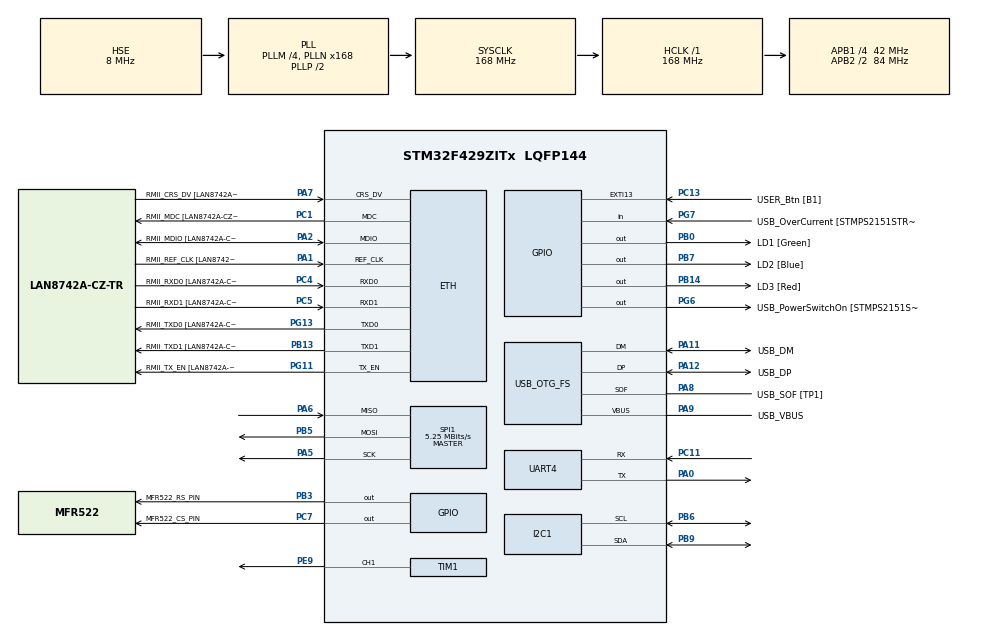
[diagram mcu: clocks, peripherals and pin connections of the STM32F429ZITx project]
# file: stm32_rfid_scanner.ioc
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Dma.Request0=TIM1_CH1
Dma.Request1=UART4_TX
Dma.Request2=UART4_RX
Dma.TIM1_CH1.0.Direction=DMA_MEMORY_TO_PERIPH
Dma.TIM1_CH1.0.FIFOMode=DMA_FIFOMODE_DISABLE
Dma.TIM1_CH1.0.Instance=DMA2_Stream1
Dma.TIM1_CH1.0.MemDataAlignment=DMA_MDATAALIGN_HALFWORD
Dma.TIM1_CH1.0.MemInc=DMA_MINC_ENABLE
Dma.TIM1_CH1.0.Mode=DMA_CIRCULAR
Dma.TIM1_CH1.0.PeriphDataAlignment=DMA_PDATAALIGN_HALFWORD
Dma.TIM1_CH1.0.PeriphInc=DMA_PINC_DISABLE
Dma.TIM1_CH1.0.Priority=DMA_PRIORITY_LOW
Dma.UART4_RX.2.Direction=DMA_PERIPH_TO_MEMORY
Dma.UART4_RX.2.FIFOMode=DMA_FIFOMODE_DISABLE
Dma.UART4_RX.2.Instance=DMA1_Stream2
Dma.UART4_RX.2.MemDataAlignment=DMA_MDATAALIGN_BYTE
Dma.UART4_RX.2.MemInc=DMA_MINC_ENABLE
Dma.UART4_RX.2.Mode=DMA_CIRCULAR
Dma.UART4_RX.2.PeriphDataAlignment=DMA_PDATAALIGN_BYTE
Dma.UART4_RX.2.PeriphInc=DMA_PINC_DISABLE
Dma.UART4_RX.2.Priority=DMA_PRIORITY_LOW
Dma.UART4_TX.1.Direction=DMA_MEMORY_TO_PERIPH
Dma.UART4_TX.1.FIFOMode=DMA_FIFOMODE_DISABLE
Dma.UART4_TX.1.Instance=DMA1_Stream4
Dma.UART4_TX.1.MemDataAlignment=DMA_MDATAALIGN_BYTE
Dma.UART4_TX.1.MemInc=DMA_MINC_ENABLE
Dma.UART4_TX.1.Mode=DMA_NORMAL
Dma.UART4_TX.1.PeriphDataAlignment=DMA_PDATAALIGN_BYTE
Dma.UART4_TX.1.PeriphInc=DMA_PINC_DISABLE
Dma.UART4_TX.1.Priority=DMA_PRIORITY_LOW
ETH.MediaInterface=HAL_ETH_RMII_MODE
ETH.PHY_Name=LAN8742A_PHY_ADDRESS
ETH.PHY_Value=0
ETH.PhyAddress=0
ETH.RxMode=ETH_RXINTERRUPT_MODE
FREERTOS.Tasks01=defaultTask,24,128,StartDefaultTask,Default,NULL,Dynamic,NULL,NULL
FREERTOS.configUSE_NEWLIB_REENTRANT=1
I2C1.I2C_Mode=I2C_Fast
LWIP.Version=v2.1.2_Cube
Mcu.Family=STM32F4
Mcu.Name=STM32F429ZITx
Mcu.Package=LQFP144
NVIC.DMA1_Stream2_IRQn=true\:5\:0\:false\:false\:true\:true\:false\:true\:true
NVIC.DMA1_Stream4_IRQn=true\:5\:0\:false\:false\:true\:true\:false\:true\:true
NVIC.DMA2_Stream1_IRQn=true\:5\:0\:false\:false\:true\:true\:false\:true\:true
NVIC.ETH_IRQn=true\:5\:0\:false\:false\:true\:true\:false\:true\:true
NVIC.EXTI15_10_IRQn=true\:5\:0\:false\:false\:true\:true\:true\:true\:true
NVIC.PriorityGroup=NVIC_PRIORITYGROUP_4
NVIC.TIM2_IRQn=true\:15\:0\:false\:false\:true\:false\:false\:true\:true
NVIC.TIM6_DAC_IRQn=true\:5\:0\:false\:false\:true\:true\:true\:true\:true
NVIC.TimeBase=TIM2_IRQn
NVIC.TimeBaseIP=TIM2
NVIC.UART4_IRQn=true\:5\:0\:false\:false\:true\:true\:true\:true\:true
PA0/WKUP.Mode=Asynchronous
PA0/WKUP.Signal=UART4_TX
PA1.GPIO_Label=RMII_REF_CLK [LAN8742A-CZ-TR_REFCLK0]
PA1.Mode=RMII
PA1.Signal=ETH_REF_CLK
PA10.GPIO_Label=USB_ID
PA10.Signal=USB_OTG_FS_ID
PA11.GPIO_Label=USB_DM
PA11.Mode=Device_Only
PA11.Signal=USB_OTG_FS_DM
PA12.GPIO_Label=USB_DP
PA12.Mode=Device_Only
PA12.Signal=USB_OTG_FS_DP
PA13.GPIO_Label=TMS
PA13.Mode=Serial_Wire
PA13.Signal=SYS_JTMS-SWDIO
PA14.GPIO_Label=TCK
PA14.Mode=Serial_Wire
PA14.Signal=SYS_JTCK-SWCLK
PA2.GPIO_Label=RMII_MDIO [LAN8742A-CZ-TR_MDIO]
PA2.Mode=RMII
PA2.Signal=ETH_MDIO
PA5.Mode=Full_Duplex_Master
PA5.Signal=SPI1_SCK
PA6.Mode=Full_Duplex_Master
PA6.Signal=SPI1_MISO
PA7.GPIO_Label=RMII_CRS_DV [LAN8742A-CZ-TR_CRS_DV]
PA7.Mode=RMII
PA7.Signal=ETH_CRS_DV
PA8.GPIO_Label=USB_SOF [TP1]
PA8.Mode=Activate_SOF_FS
PA8.Signal=USB_OTG_FS_SOF
PA9.GPIO_Label=USB_VBUS
PA9.Mode=Activate_VBUS
PA9.Signal=USB_OTG_FS_VBUS
PB0.GPIO_Label=LD1 [Green]
PB0.Signal=GPIO_Output
PB13.GPIO_Label=RMII_TXD1 [LAN8742A-CZ-TR_TXD1]
PB13.Mode=RMII
PB13.Signal=ETH_TXD1
PB14.GPIO_Label=LD3 [Red]
PB14.Signal=GPIO_Output
PB3.GPIO_Label=MFR522_RS_PIN
PB3.Signal=GPIO_Output
PB5.Mode=Full_Duplex_Master
PB5.Signal=SPI1_MOSI
PB6.Mode=I2C
PB6.Signal=I2C1_SCL
PB7.GPIO_Label=LD2 [Blue]
PB7.Signal=GPIO_Output
PB9.Mode=I2C
PB9.Signal=I2C1_SDA
PC1.GPIO_Label=RMII_MDC [LAN8742A-CZ-TR_MDC]
PC1.Mode=RMII
PC1.Signal=ETH_MDC
PC11.Mode=Asynchronous
PC11.Signal=UART4_RX
PC13.GPIO_Label=USER_Btn [B1]
PC13.Signal=GPXTI13
PC14/OSC32_IN.Mode=LSE-External-Oscillator
PC14/OSC32_IN.Signal=RCC_OSC32_IN
PC15/OSC32_OUT.Mode=LSE-External-Oscillator
PC15/OSC32_OUT.Signal=RCC_OSC32_OUT
PC4.GPIO_Label=RMII_RXD0 [LAN8742A-CZ-TR_RXD0]
PC4.Mode=RMII
PC4.Signal=ETH_RXD0
PC5.GPIO_Label=RMII_RXD1 [LAN8742A-CZ-TR_RXD1]
PC5.Mode=RMII
PC5.Signal=ETH_RXD1
PC7.GPIO_Label=MFR522_CS_PIN
PC7.Signal=GPIO_Output
PD8.GPIO_Label=STLK_RX [STM32F103CBT6_PA3]
PD8.Signal=USART3_TX
PD9.GPIO_Label=STLK_TX [STM32F103CBT6_PA2]
PD9.Signal=USART3_RX
PE9.Signal=S_TIM1_CH1
PG11.GPIO_Label=RMII_TX_EN [LAN8742A-CZ-TR_TXEN]
PG11.Mode=RMII
PG11.Signal=ETH_TX_EN
PG13.GPIO_Label=RMII_TXD0 [LAN8742A-CZ-TR_TXD0]
PG13.Mode=RMII
PG13.Signal=ETH_TXD0
PG6.GPIO_Label=USB_PowerSwitchOn [STMPS2151STR_EN]
PG6.Signal=GPIO_Output
PG7.GPIO_Label=USB_OverCurrent [STMPS2151STR_FAULT]
PG7.Signal=GPIO_Input
PH0/OSC_IN.GPIO_Label=MCO [STM32F103CBT6_PA8]
PH0/OSC_IN.Mode=HSE-External-Oscillator
PH0/OSC_IN.Signal=RCC_OSC_IN
PH1/OSC_OUT.Mode=HSE-External-Oscillator
PH1/OSC_OUT.Signal=RCC_OSC_OUT
ProjectManager.HeapSize=0x200
ProjectManager.StackSize=0x400
ProjectManager.TargetToolchain=STM32CubeIDE
RCC.48MHZClocksFreq_Value=48000000
RCC.AHBFreq_Value=168000000
RCC.APB1CLKDivider=RCC_HCLK_DIV4
RCC.APB1Freq_Value=42000000
RCC.APB1TimFreq_Value=84000000
RCC.APB2CLKDivider=RCC_HCLK_DIV2
RCC.APB2Freq_Value=84000000
RCC.APB2TimFreq_Value=168000000
RCC.CortexFreq_Value=168000000
RCC.HCLKFreq_Value=168000000
RCC.HSE_VALUE=8000000
RCC.HSI_VALUE=16000000
RCC.PLLM=4
RCC.PLLMUL=RCC_PLL_MUL9
RCC.PLLN=168
RCC.PLLQ=7
RCC.PRESCALERUSB=RCC_USBCLKSOURCE_PLL_DIV1_5
RCC.SYSCLKFreq_VALUE=168000000
RCC.SYSCLKSource=RCC_SYSCLKSOURCE_PLLCLK
RCC.SYSCLKSourceVirtual=RCC_SYSCLKSOURCE_PLLCLK
RCC.USBFreq_Value=48000000
RCC.VCOOutputFreq_Value=336000000
SH.S_TIM1_CH1.0=TIM1_CH1,PWM Generation1 CH1
SPI1.BaudRatePrescaler=SPI_BAUDRATEPRESCALER_16
SPI1.CalculateBaudRate=5.25 MBits/s
SPI1.Direction=SPI_DIRECTION_2LINES
SPI1.Mode=SPI_MODE_MASTER
SPI1.VirtualType=VM_MASTER
TIM1.Channel-PWM\ Generation1\ CH1=TIM_CHANNEL_1
TIM1.Period=10000-1
TIM1.Prescaler=16800-1
TIM6.AutoReloadPreload=TIM_AUTORELOAD_PRELOAD_ENABLE
TIM6.Period=5000
TIM6.Prescaler=8400-1
UART4.VirtualMode=Asynchronous
USB_OTG_FS.VirtualMode=Device_Only
VP_FREERTOS_VS_CMSIS_V2.Mode=CMSIS_V2
VP_LWIP_VS_Enabled.Mode=Enabled
VP_SYS_VS_tim2.Mode=TIM2
VP_TIM1_VS_ClockSourceINT.Mode=Internal
VP_TIM6_VS_ClockSourceINT.Mode=Enable_Timer
board=NUCLEO-F429ZI

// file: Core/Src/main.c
/* USER CODE BEGIN Header */
/**
  ******************************************************************************
  * @file           : main.c
  * @brief          : Main program body
  ******************************************************************************
  * @attention
  *
  * Copyright (c) 2023 STMicroelectronics.
  * All rights reserved.
  *
  * This software is licensed under terms that can be found in the LICENSE file
  * in the root directory of this software component.
  * If no LICENSE file comes with this software, it is provided AS-IS.
  *
  ******************************************************************************
  */
/* USER CODE END Header */
#include "main.h"
#include "cmsis_os.h"
#include "lwip.h"

/* USER CODE BEGIN Includes */
#include "stdbool.h"
#include "MFRC522.h"
/* USER CODE END Includes */

I2C_HandleTypeDef hi2c1;

SPI_HandleTypeDef hspi1;

TIM_HandleTypeDef htim1;
TIM_HandleTypeDef htim6;
DMA_HandleTypeDef hdma_tim1_ch1;

UART_HandleTypeDef huart4;
DMA_HandleTypeDef hdma_uart4_tx;
DMA_HandleTypeDef hdma_uart4_rx;

PCD_HandleTypeDef hpcd_USB_OTG_FS;

/* Definitions for defaultTask */
osThreadId_t defaultTaskHandle;
const osThreadAttr_t defaultTask_attributes = {
  .name = "defaultTask",
  .stack_size = 128 * 4,
  .priority = (osPriority_t) osPriorityNormal,
};
/* USER CODE BEGIN PV */

osThreadId_t myFirstTask;
const osThreadAttr_t myFirstTask_attributes = {
  .name = "myFirstTask",
  .stack_size = 128 * 4,
  .priority = (osPriority_t) osPriorityHigh, //osPriorityNormal
};

osMutexId_t myMtx = NULL;
osMutexId_t myMtx2 = NULL;
osMutexAttr_t myMtxAtt = {NULL, osMutexRecursive, NULL, NULL};
osMutexAttr_t myMtxAtt2 = {NULL, osMutexRecursive, NULL, NULL};
uint16_t data  = 6;

char myBuffer1[1024];
char myBuffer2[1024];

int isButtonPressed = 1;

static uint32_t _tick = 0, _startTick = 0;
static int _pressed = 1;

/* USER CODE END PV */

void SystemClock_Config(void);
static void MX_GPIO_Init(void);
static void MX_DMA_Init(void);
static void MX_USB_OTG_FS_PCD_Init(void);
static void MX_TIM6_Init(void);
static void MX_TIM1_Init(void);
static void MX_SPI1_Init(void);
static void MX_I2C1_Init(void);
static void MX_UART4_Init(void);
void StartDefaultTask(void *argument);

/* USER CODE BEGIN PFP */
void myFirstTaskHandle(void *argument);
MFRC rfidReader;
/* USER CODE END PFP */

/* USER CODE BEGIN 0 */

void writeNameToRFIDCard(char *firstName, char *lastName)
{
	  // Prepare key - all keys are set to FFFFFFFFFFFFh at chip delivery from the factory.
	  MIFARE_Key key;
	  for (uint8_t i = 0; i < 6; i++) key.keyByte[i] = 0xFF;

	  SEGGER_RTT_printf(0, "Card UID:");    //Dump UID
	  for (uint8_t i = 0; i < rfidReader.uid.size; i++) {
	    SEGGER_RTT_printf(0, rfidReader.uid.uidByte[i] < 0x10 ? " 0" : " ");
	    SEGGER_RTT_printf(0, "%02X", rfidReader.uid.uidByte[i]);
	  }
	  SEGGER_RTT_printf(0, " PICC type: ");   // Dump PICC type
	  PICC_Type piccType = PICC_GetType(&rfidReader, rfidReader.uid.sak);
	  SEGGER_RTT_printf(0, "%s", PICC_GetTypeName(&rfidReader, piccType));

	  uint8_t buffer[34];
	  uint8_t block;
	  StatusCode status;
	  uint8_t len;

	  if(firstName == NULL || lastName == NULL)
	  {
		  return;
	  }
	  // Ask personal data: Family name

	  memcpy(buffer, firstName, strlen(firstName));
	  for (uint8_t i = strlen(firstName); i < 30; i++) buffer[i] = ' ';     // pad with spaces

	  block = 1;
	  //SEGGER_RTT_printfln(F("Authenticating using key A..."));
	  status = PCD_Authenticate(&rfidReader, PICC_CMD_MF_AUTH_KEY_A, block, &key, &(rfidReader.uid));
	  if (status != STATUS_OK) {
	    SEGGER_RTT_printf(0, "PCD_Authenticate() failed: ");
	    SEGGER_RTT_printf(0, "%s", GetStatusCodeName(&rfidReader, status));
	    return;
	  }
	  else SEGGER_RTT_printf(0, "PCD_Authenticate() success: ");

	  // Write block
	  status = MIFARE_Write(&rfidReader, block, buffer, 16);
	  if (status != STATUS_OK) {
	    SEGGER_RTT_printf(0, "MIFARE_Write() failed: ");
	    SEGGER_RTT_printf(0, "%s", GetStatusCodeName(&rfidReader, status));
	    return;
	  }
	  else SEGGER_RTT_printf(0, "MIFARE_Write() success: ");

	  block = 2;
	  //SEGGER_RTT_printfln(F("Authenticating using key A..."));
	  status = PCD_Authenticate(&rfidReader, PICC_CMD_MF_AUTH_KEY_A, block, &key, &(rfidReader.uid));
	  if (status != STATUS_OK) {
	    SEGGER_RTT_printf(0, "PCD_Authenticate() failed: ");
	    SEGGER_RTT_printf(0, "%s", GetStatusCodeName(&rfidReader, status));
	    return;
	  }

	  // Write block
	  status = MIFARE_Write(&rfidReader, block, &buffer[16], 16);
	  if (status != STATUS_OK) {
	    SEGGER_RTT_printf(0, "MIFARE_Write() failed: ");
	    SEGGER_RTT_printf(0, "%s", GetStatusCodeName(&rfidReader, status));
	    return;
	  }
	  else SEGGER_RTT_printf(0, "MIFARE_Write() success: ");

	  // Ask personal data: First name
	  memcpy(buffer, lastName, strlen(lastName));
	  for (uint8_t i = strlen(lastName); i < 20; i++) buffer[i] = ' ';     // pad with spaces

	  block = 4;
	  //SEGGER_RTT_printfln(F("Authenticating using key A..."));
	  status = PCD_Authenticate(&rfidReader, PICC_CMD_MF_AUTH_KEY_A, block, &key, &(rfidReader.uid));
	  if (status != STATUS_OK) {
	    SEGGER_RTT_printf(0, "PCD_Authenticate() failed: ");
	    SEGGER_RTT_printf(0, "%s", GetStatusCodeName(&rfidReader, status));
	    return;
	  }

	  // Write block
	  status = MIFARE_Write(&rfidReader, block, buffer, 16);
	  if (status != STATUS_OK) {
	    SEGGER_RTT_printf(0, "MIFARE_Write() failed: ");
	    SEGGER_RTT_printf(0, "%s", GetStatusCodeName(&rfidReader, status));
	    return;
	  }
	  else SEGGER_RTT_printf(0, "MIFARE_Write() success: ");

	  block = 5;
	  //SEGGER_RTT_printfln(F("Authenticating using key A..."));
	  status = PCD_Authenticate(&rfidReader, PICC_CMD_MF_AUTH_KEY_A, block, &key, &(rfidReader.uid));
	  if (status != STATUS_OK) {
	    SEGGER_RTT_printf(0, "PCD_Authenticate() failed: ");
	    SEGGER_RTT_printf(0, "%s", GetStatusCodeName(&rfidReader, status));
	    return;
	  }

	  // Write block
	  status = MIFARE_Write(&rfidReader, block, &buffer[16], 16);
	  if (status != STATUS_OK) {
	    SEGGER_RTT_printf(0, "MIFARE_Write() failed: ");
	    SEGGER_RTT_printf(0, "%s", GetStatusCodeName(&rfidReader ,status));
	    return;
	  }
	  else SEGGER_RTT_printf(0, "MIFARE_Write() success: ");

	  SEGGER_RTT_printf(0, " ");
	  PICC_HaltA(&rfidReader); // Halt PICC
	  PCD_StopCrypto1(&rfidReader);  // Stop encryption on PCD
}

void readNameFromRFIDCard(void) {

  // Prepare key - all keys are set to FFFFFFFFFFFFh at chip delivery from the factory.
  MIFARE_Key key;
  for (uint8_t i = 0; i < 6; i++) key.keyByte[i] = 0xFF;

  //some variables we need
  uint8_t block;
  uint8_t len;
  StatusCode status;

  //-------------------------------------------

//  // Reset the loop if no new card present on the sensor/reader. This saves the entire process when idle.
//  if ( ! PICC_IsNewCardPresent(&rfidReader)) {
//    return;
//  }
//
//  // Select one of the cards
//  if ( ! PICC_ReadCardSerial(&rfidReader)) {
//    return;
//  }

  SEGGER_RTT_printf(0, "**Card Detected:**");

  //-------------------------------------------

  //PICC_DumpDetailsToSerial(&rfidReader, &(rfidReader.uid)); //dump some details about the card

  //PICC_DumpToSerial(&rfidReader, &(rfidReader.uid));      //uncomment this to see all blocks in hex

  //-------------------------------------------

  SEGGER_RTT_printf(0, "Name: ");

  uint8_t buffer1[18];

  block = 4;
  len = 18;

  //------------------------------------------- GET FIRST NAME
  status = PCD_Authenticate(&rfidReader, PICC_CMD_MF_AUTH_KEY_A, 4, &key, &(rfidReader.uid)); //line 834 of MFRC522.cpp file
  if (status != STATUS_OK) {
    SEGGER_RTT_printf(0, "Authentication failed: ");
    SEGGER_RTT_printf(0, "%s", GetStatusCodeName(&rfidReader, status));
    return;
  }

  status = MIFARE_Read(&rfidReader, block, buffer1, &len);
  if (status != STATUS_OK) {
    SEGGER_RTT_printf(0, "Reading failed: ");
    SEGGER_RTT_printf(0, "%s", GetStatusCodeName(&rfidReader, status));
    return;
  }

  //PRINT FIRST NAME

    buffer1[16] = 0;

    SEGGER_RTT_printf(0, "%s", buffer1);

  SEGGER_RTT_printf(" ");

  //---------------------------------------- GET LAST NAME

  uint8_t buffer2[18];
  block = 1;

  status = PCD_Authenticate(&rfidReader, PICC_CMD_MF_AUTH_KEY_A, 1, &key, &(rfidReader.uid)); //line 834
  if (status != STATUS_OK) {
    SEGGER_RTT_printf(0, "Authentication failed: ");
    SEGGER_RTT_printf(0, "%s", GetStatusCodeName(&rfidReader, status));
    return;
  }

  status = MIFARE_Read(&rfidReader, block, buffer2, &len);
  if (status != STATUS_OK) {
    SEGGER_RTT_printf(0, "Reading failed: ");
    SEGGER_RTT_printf(0, "%s", GetStatusCodeName(&rfidReader, status));
    return;
  }

  //PRINT LAST NAME
  buffer2[16] = 0;
  SEGGER_RTT_printf(0, "%s", buffer2 );

  //----------------------------------------

  SEGGER_RTT_printf(0, "\n**End Reading**\n");

  PICC_HaltA(&rfidReader);
  PCD_StopCrypto1(&rfidReader);
}
/* USER CODE END 0 */

int main(void)
{

  /* MCU Configuration--------------------------------------------------------*/

  /* Reset of all peripherals, Initializes the Flash interface and the Systick. */
  HAL_Init();

  /* Configure the system clock */
  SystemClock_Config();

  /* Initialize all configured peripherals */
  MX_GPIO_Init();
  MX_DMA_Init();
  MX_USB_OTG_FS_PCD_Init();
  MX_TIM6_Init();
  MX_TIM1_Init();
  MX_SPI1_Init();
  MX_I2C1_Init();
  MX_UART4_Init();
  /* USER CODE BEGIN 2 */
//  HAL_TIM_Base_Start_IT(&htim6);
//HAL_UART_Transmit(&huart4, "hello world1234\r\n", 17, 1000);
//HAL_UART_Transmit_IT(&huart4, "uart_transmit_it\r\n", 18);
//HAL_Delay(500);
//HAL_UART_AbortTransmit_IT(&huart4);
  int j;
  for(j = 0; j < 1024; j++)
  {
	  myBuffer1[j] = 'a';
	  myBuffer2[j] = 'b';
  }

//HAL_UART_Transmit_DMA(&huart4, myBuffer, strlen(myBuffer));
//HAL_UART_AbortTransmitCpltCallback(&huart4);

//  ledOn(&ledRed);
//  ledOn(&ledYellow);
//  ledOn(&ledBlue);
//  HAL_Delay(5000);
//
//
//  ledBlink(&ledRed, 10, 200, 200, 0, 0);
//  ledBlink(&ledYellow, 10, 200, 200, 0, 0);
//  ledBlink(&ledBlue, 10, 200, 200, 0, 0);
//
//
//  ledOff(&ledRed);
//  ledOff(&ledYellow);
//  ledOff(&ledBlue);
//
//  for(int i = 0; i < 10; i++)
//  {
//	  ledToggle(&ledRed);
//	  ledToggle(&ledYellow);
//	  ledToggle(&ledBlue);
//
//	  HAL_Delay(500);
//  }
//  TIM1->CCR1 = 1000;

  //*(uint32_t *)(0x40010000 + 0x34) = 5000;

//  uint32_t *pt  = (uint32_t *)(0x40010000 + 0x34);
//
//  *pt = 7000;
//
//  HAL_TIM_PWM_Start(&htim1, TIM_CHANNEL_1);

//  uint16_t pwmData[10];
//  uint16_t i;
//  for(i = 0; i < 10; i++)
//  {
//	  pwmData[i]  = 1000 + 500 * i;
//  }
//
//
//  HAL_TIM_PWM_Start_DMA(&htim1, TIM_CHANNEL_1, (uint32_t *)&pwmData, 10);

  rfidReader.hspi = &hspi1;
  MFRC522_Init(&rfidReader, GPIO_PIN_7, GPIOC, GPIO_PIN_3, GPIOB);

//  char _buffer[100];
//  char rx_buffer[100];
//  memset(_buffer, 0, 100);
//
//  float temperature = 27.5, humidity = 90;
//  snprintf(_buffer, sizeof(_buffer), "Temperature: %f, Humidity %f\r\n", temperature, humidity);
//  HAL_UART_Transmit(&huart3, _buffer, strlen(_buffer), 1000);

  /* USER CODE END 2 */

  /* Init scheduler */
  osKernelInitialize();

  /* USER CODE BEGIN RTOS_MUTEX */
  /* add mutexes, ... */
  myMtx = osMutexNew (&myMtxAtt);
  myMtx2 = osMutexNew (&myMtxAtt2);

  if(myMtx == NULL || myMtx2 == NULL)
  {
	  while(1);
  }

  /* USER CODE END RTOS_MUTEX */

  /* Create the thread(s) */
  /* creation of defaultTask */
  defaultTaskHandle = osThreadNew(StartDefaultTask, NULL, &defaultTask_attributes);

  /* USER CODE BEGIN RTOS_THREADS */
  /* add threads, ... */
  myFirstTask = osThreadNew(myFirstTaskHandle, NULL, &myFirstTask_attributes);

  /* USER CODE END RTOS_THREADS */

  /* Start scheduler */
  osKernelStart();

  /* We should never get here as control is now taken by the scheduler */
  /* Infinite loop */
  /* USER CODE BEGIN WHILE */
  while (1)
  {

	  if(PICC_IsNewCardPresent(&rfidReader) == false)
	  {
		  SEGGER_RTT_printf(0, "Card not found!!!!!\r\n");
		  HAL_Delay(1000);
		  continue;

	  }
	  SEGGER_RTT_printf(0, "Card found!!!!!\r\n");

	  if(PICC_ReadCardSerial(&rfidReader) == true)
	  {
		  //PICC_DumpToSerial(&rfidReader, &rfidReader.uid);
	  }

	  writeNameToRFIDCard("Phuc", "Vu");

	  HAL_Delay(1000);

	  readNameFromRFIDCard();
    /* USER CODE END WHILE */

    /* USER CODE BEGIN 3 */
//	  memset(myBuffer, 0, 64);
//	  HAL_UART_Receive(&huart4, myBuffer, 1000, 100);
//	  if (strlen(myBuffer) != 0){
////		  HAL_UART_Transmit(&huart4, myBuffer, strlen(myBuffer), 1000);
//		  snprintf(myBuffer2, 64, "received text: %s \r\n", myBuffer);
//		  HAL_UART_Transmit_DMA(&huart4, myBuffer2, strlen(myBuffer2));
//
//	  }

  }
  /* USER CODE END 3 */
}

void SystemClock_Config(void)
{
  RCC_OscInitTypeDef RCC_OscInitStruct = {0};
  RCC_ClkInitTypeDef RCC_ClkInitStruct = {0};

  /** Configure the main internal regulator output voltage
  */
  __HAL_RCC_PWR_CLK_ENABLE();
  __HAL_PWR_VOLTAGESCALING_CONFIG(PWR_REGULATOR_VOLTAGE_SCALE1);

  /** Initializes the RCC Oscillators according to the specified parameters
  * in the RCC_OscInitTypeDef structure.
  */
  RCC_OscInitStruct.OscillatorType = RCC_OSCILLATORTYPE_HSE;
  RCC_OscInitStruct.HSEState = RCC_HSE_ON;
  RCC_OscInitStruct.PLL.PLLState = RCC_PLL_ON;
  RCC_OscInitStruct.PLL.PLLSource = RCC_PLLSOURCE_HSE;
  RCC_OscInitStruct.PLL.PLLM = 4;
  RCC_OscInitStruct.PLL.PLLN = 168;
  RCC_OscInitStruct.PLL.PLLP = RCC_PLLP_DIV2;
  RCC_OscInitStruct.PLL.PLLQ = 7;
  if (HAL_RCC_OscConfig(&RCC_OscInitStruct) != HAL_OK)
  {
    Error_Handler();
  }

  /** Initializes the CPU, AHB and APB buses clocks
  */
  RCC_ClkInitStruct.ClockType = RCC_CLOCKTYPE_HCLK|RCC_CLOCKTYPE_SYSCLK
                              |RCC_CLOCKTYPE_PCLK1|RCC_CLOCKTYPE_PCLK2;
  RCC_ClkInitStruct.SYSCLKSource = RCC_SYSCLKSOURCE_PLLCLK;
  RCC_ClkInitStruct.AHBCLKDivider = RCC_SYSCLK_DIV1;
  RCC_ClkInitStruct.APB1CLKDivider = RCC_HCLK_DIV4;
  RCC_ClkInitStruct.APB2CLKDivider = RCC_HCLK_DIV2;

  if (HAL_RCC_ClockConfig(&RCC_ClkInitStruct, FLASH_LATENCY_5) != HAL_OK)
  {
    Error_Handler();
  }
}

static void MX_I2C1_Init(void)
{

  hi2c1.Instance = I2C1;
  hi2c1.Init.ClockSpeed = 400000;
  hi2c1.Init.DutyCycle = I2C_DUTYCYCLE_2;
  hi2c1.Init.OwnAddress1 = 0;
  hi2c1.Init.AddressingMode = I2C_ADDRESSINGMODE_7BIT;
  hi2c1.Init.DualAddressMode = I2C_DUALADDRESS_DISABLE;
  hi2c1.Init.OwnAddress2 = 0;
  hi2c1.Init.GeneralCallMode = I2C_GENERALCALL_DISABLE;
  hi2c1.Init.NoStretchMode = I2C_NOSTRETCH_DISABLE;
  if (HAL_I2C_Init(&hi2c1) != HAL_OK)
  {
    Error_Handler();
  }

  /** Configure Analogue filter
  */
  if (HAL_I2CEx_ConfigAnalogFilter(&hi2c1, I2C_ANALOGFILTER_ENABLE) != HAL_OK)
  {
    Error_Handler();
  }

  /** Configure Digital filter
  */
  if (HAL_I2CEx_ConfigDigitalFilter(&hi2c1, 0) != HAL_OK)
  {
    Error_Handler();
  }

}

static void MX_SPI1_Init(void)
{

  /* SPI1 parameter configuration*/
  hspi1.Instance = SPI1;
  hspi1.Init.Mode = SPI_MODE_MASTER;
  hspi1.Init.Direction = SPI_DIRECTION_2LINES;
  hspi1.Init.DataSize = SPI_DATASIZE_8BIT;
  hspi1.Init.CLKPolarity = SPI_POLARITY_LOW;
  hspi1.Init.CLKPhase = SPI_PHASE_1EDGE;
  hspi1.Init.NSS = SPI_NSS_SOFT;
  hspi1.Init.BaudRatePrescaler = SPI_BAUDRATEPRESCALER_16;
  hspi1.Init.FirstBit = SPI_FIRSTBIT_MSB;
  hspi1.Init.TIMode = SPI_TIMODE_DISABLE;
  hspi1.Init.CRCCalculation = SPI_CRCCALCULATION_DISABLE;
  hspi1.Init.CRCPolynomial = 10;
  if (HAL_SPI_Init(&hspi1) != HAL_OK)
  {
    Error_Handler();
  }

}

static void MX_TIM1_Init(void)
{

  TIM_ClockConfigTypeDef sClockSourceConfig = {0};
  TIM_MasterConfigTypeDef sMasterConfig = {0};
  TIM_OC_InitTypeDef sConfigOC = {0};
  TIM_BreakDeadTimeConfigTypeDef sBreakDeadTimeConfig = {0};

  htim1.Instance = TIM1;
  htim1.Init.Prescaler = 16800-1;
  htim1.Init.CounterMode = TIM_COUNTERMODE_UP;
  htim1.Init.Period = 10000-1;
  htim1.Init.ClockDivision = TIM_CLOCKDIVISION_DIV1;
  htim1.Init.RepetitionCounter = 0;
  htim1.Init.AutoReloadPreload = TIM_AUTORELOAD_PRELOAD_DISABLE;
  if (HAL_TIM_Base_Init(&htim1) != HAL_OK)
  {
    Error_Handler();
  }
  sClockSourceConfig.ClockSource = TIM_CLOCKSOURCE_INTERNAL;
  if (HAL_TIM_ConfigClockSource(&htim1, &sClockSourceConfig) != HAL_OK)
  {
    Error_Handler();
  }
  if (HAL_TIM_PWM_Init(&htim1) != HAL_OK)
  {
    Error_Handler();
  }
  sMasterConfig.MasterOutputTrigger = TIM_TRGO_RESET;
  sMasterConfig.MasterSlaveMode = TIM_MASTERSLAVEMODE_DISABLE;
  if (HAL_TIMEx_MasterConfigSynchronization(&htim1, &sMasterConfig) != HAL_OK)
  {
    Error_Handler();
  }
  sConfigOC.OCMode = TIM_OCMODE_PWM1;
  sConfigOC.Pulse = 0;
  sConfigOC.OCPolarity = TIM_OCPOLARITY_HIGH;
  sConfigOC.OCNPolarity = TIM_OCNPOLARITY_HIGH;
  sConfigOC.OCFastMode = TIM_OCFAST_DISABLE;
  sConfigOC.OCIdleState = TIM_OCIDLESTATE_RESET;
  sConfigOC.OCNIdleState = TIM_OCNIDLESTATE_RESET;
  if (HAL_TIM_PWM_ConfigChannel(&htim1, &sConfigOC, TIM_CHANNEL_1) != HAL_OK)
  {
    Error_Handler();
  }
  sBreakDeadTimeConfig.OffStateRunMode = TIM_OSSR_DISABLE;
  sBreakDeadTimeConfig.OffStateIDLEMode = TIM_OSSI_DISABLE;
  sBreakDeadTimeConfig.LockLevel = TIM_LOCKLEVEL_OFF;
  sBreakDeadTimeConfig.DeadTime = 0;
  sBreakDeadTimeConfig.BreakState = TIM_BREAK_DISABLE;
  sBreakDeadTimeConfig.BreakPolarity = TIM_BREAKPOLARITY_HIGH;
  sBreakDeadTimeConfig.AutomaticOutput = TIM_AUTOMATICOUTPUT_DISABLE;
  if (HAL_TIMEx_ConfigBreakDeadTime(&htim1, &sBreakDeadTimeConfig) != HAL_OK)
  {
    Error_Handler();
  }
  HAL_TIM_MspPostInit(&htim1);

}

static void MX_TIM6_Init(void)
{

  TIM_MasterConfigTypeDef sMasterConfig = {0};

  htim6.Instance = TIM6;
  htim6.Init.Prescaler = 8400-1;
  htim6.Init.CounterMode = TIM_COUNTERMODE_UP;
  htim6.Init.Period = 5000;
  htim6.Init.AutoReloadPreload = TIM_AUTORELOAD_PRELOAD_ENABLE;
  if (HAL_TIM_Base_Init(&htim6) != HAL_OK)
  {
    Error_Handler();
  }
  sMasterConfig.MasterOutputTrigger = TIM_TRGO_RESET;
  sMasterConfig.MasterSlaveMode = TIM_MASTERSLAVEMODE_DISABLE;
  if (HAL_TIMEx_MasterConfigSynchronization(&htim6, &sMasterConfig) != HAL_OK)
  {
    Error_Handler();
  }

}

static void MX_UART4_Init(void)
{

  huart4.Instance = UART4;
  huart4.Init.BaudRate = 115200;
  huart4.Init.WordLength = UART_WORDLENGTH_8B;
  huart4.Init.StopBits = UART_STOPBITS_1;
  huart4.Init.Parity = UART_PARITY_NONE;
  huart4.Init.Mode = UART_MODE_TX_RX;
  huart4.Init.HwFlowCtl = UART_HWCONTROL_NONE;
  huart4.Init.OverSampling = UART_OVERSAMPLING_16;
  if (HAL_UART_Init(&huart4) != HAL_OK)
  {
    Error_Handler();
  }

}

static void MX_USB_OTG_FS_PCD_Init(void)
{

  hpcd_USB_OTG_FS.Instance = USB_OTG_FS;
  hpcd_USB_OTG_FS.Init.dev_endpoints = 4;
  hpcd_USB_OTG_FS.Init.speed = PCD_SPEED_FULL;
  hpcd_USB_OTG_FS.Init.dma_enable = DISABLE;
  hpcd_USB_OTG_FS.Init.phy_itface = PCD_PHY_EMBEDDED;
  hpcd_USB_OTG_FS.Init.Sof_enable = ENABLE;
  hpcd_USB_OTG_FS.Init.low_power_enable = DISABLE;
  hpcd_USB_OTG_FS.Init.lpm_enable = DISABLE;
  hpcd_USB_OTG_FS.Init.vbus_sensing_enable = ENABLE;
  hpcd_USB_OTG_FS.Init.use_dedicated_ep1 = DISABLE;
  if (HAL_PCD_Init(&hpcd_USB_OTG_FS) != HAL_OK)
  {
    Error_Handler();
  }

}

static void MX_DMA_Init(void)
{

  /* DMA controller clock enable */
  __HAL_RCC_DMA2_CLK_ENABLE();
  __HAL_RCC_DMA1_CLK_ENABLE();

  /* DMA interrupt init */
  /* DMA1_Stream2_IRQn interrupt configuration */
  HAL_NVIC_SetPriority(DMA1_Stream2_IRQn, 5, 0);
  HAL_NVIC_EnableIRQ(DMA1_Stream2_IRQn);
  /* DMA1_Stream4_IRQn interrupt configuration */
  HAL_NVIC_SetPriority(DMA1_Stream4_IRQn, 5, 0);
  HAL_NVIC_EnableIRQ(DMA1_Stream4_IRQn);
  /* DMA2_Stream1_IRQn interrupt configuration */
  HAL_NVIC_SetPriority(DMA2_Stream1_IRQn, 5, 0);
  HAL_NVIC_EnableIRQ(DMA2_Stream1_IRQn);

}

static void MX_GPIO_Init(void)
{
  GPIO_InitTypeDef GPIO_InitStruct = {0};

  /* GPIO Ports Clock Enable */
  __HAL_RCC_GPIOC_CLK_ENABLE();
  __HAL_RCC_GPIOH_CLK_ENABLE();
  __HAL_RCC_GPIOA_CLK_ENABLE();
  __HAL_RCC_GPIOB_CLK_ENABLE();
  __HAL_RCC_GPIOE_CLK_ENABLE();
  __HAL_RCC_GPIOD_CLK_ENABLE();
  __HAL_RCC_GPIOG_CLK_ENABLE();

  /*Configure GPIO pin Output Level */
  HAL_GPIO_WritePin(GPIOB, LD1_Pin|LD3_Pin|MFR522_RS_PIN_Pin|LD2_Pin, GPIO_PIN_RESET);

  /*Configure GPIO pin Output Level */
  HAL_GPIO_WritePin(USB_PowerSwitchOn_GPIO_Port, USB_PowerSwitchOn_Pin, GPIO_PIN_RESET);

  /*Configure GPIO pin Output Level */
  HAL_GPIO_WritePin(MFR522_CS_PIN_GPIO_Port, MFR522_CS_PIN_Pin, GPIO_PIN_RESET);

  /*Configure GPIO pin : USER_Btn_Pin */
  GPIO_InitStruct.Pin = USER_Btn_Pin;
  GPIO_InitStruct.Mode = GPIO_MODE_IT_RISING;
  GPIO_InitStruct.Pull = GPIO_NOPULL;
  HAL_GPIO_Init(USER_Btn_GPIO_Port, &GPIO_InitStruct);

  /*Configure GPIO pins : LD1_Pin LD3_Pin MFR522_RS_PIN_Pin LD2_Pin */
  GPIO_InitStruct.Pin = LD1_Pin|LD3_Pin|MFR522_RS_PIN_Pin|LD2_Pin;
  GPIO_InitStruct.Mode = GPIO_MODE_OUTPUT_PP;
  GPIO_InitStruct.Pull = GPIO_NOPULL;
  GPIO_InitStruct.Speed = GPIO_SPEED_FREQ_LOW;
  HAL_GPIO_Init(GPIOB, &GPIO_InitStruct);

  /*Configure GPIO pins : STLK_RX_Pin STLK_TX_Pin */
  GPIO_InitStruct.Pin = STLK_RX_Pin|STLK_TX_Pin;
  GPIO_InitStruct.Mode = GPIO_MODE_AF_PP;
  GPIO_InitStruct.Pull = GPIO_NOPULL;
  GPIO_InitStruct.Speed = GPIO_SPEED_FREQ_VERY_HIGH;
  GPIO_InitStruct.Alternate = GPIO_AF7_USART3;
  HAL_GPIO_Init(GPIOD, &GPIO_InitStruct);

  /*Configure GPIO pin : USB_PowerSwitchOn_Pin */
  GPIO_InitStruct.Pin = USB_PowerSwitchOn_Pin;
  GPIO_InitStruct.Mode = GPIO_MODE_OUTPUT_PP;
  GPIO_InitStruct.Pull = GPIO_NOPULL;
  GPIO_InitStruct.Speed = GPIO_SPEED_FREQ_LOW;
  HAL_GPIO_Init(USB_PowerSwitchOn_GPIO_Port, &GPIO_InitStruct);

  /*Configure GPIO pin : USB_OverCurrent_Pin */
  GPIO_InitStruct.Pin = USB_OverCurrent_Pin;
  GPIO_InitStruct.Mode = GPIO_MODE_INPUT;
  GPIO_InitStruct.Pull = GPIO_NOPULL;
  HAL_GPIO_Init(USB_OverCurrent_GPIO_Port, &GPIO_InitStruct);

  /*Configure GPIO pin : MFR522_CS_PIN_Pin */
  GPIO_InitStruct.Pin = MFR522_CS_PIN_Pin;
  GPIO_InitStruct.Mode = GPIO_MODE_OUTPUT_PP;
  GPIO_InitStruct.Pull = GPIO_NOPULL;
  GPIO_InitStruct.Speed = GPIO_SPEED_FREQ_LOW;
  HAL_GPIO_Init(MFR522_CS_PIN_GPIO_Port, &GPIO_InitStruct);

  /* EXTI interrupt init*/
  HAL_NVIC_SetPriority(EXTI15_10_IRQn, 5, 0);
  HAL_NVIC_EnableIRQ(EXTI15_10_IRQn);

}

/* USER CODE BEGIN 4 */
void HAL_GPIO_EXTI_Callback(uint16_t GPIO_Pin)
{
	UNUSED(GPIO_Pin);
	if(_pressed == 0 && HAL_GPIO_ReadPin(USER_Btn_GPIO_Port, USER_Btn_Pin) == GPIO_PIN_RESET)
	{
		_pressed = 1;
		_startTick = HAL_GetTick();
		_tick = HAL_GetTick();
	}else{
		_tick = HAL_GetTick();
	}

	if(_tick - _startTick > 10 && HAL_GPIO_ReadPin(USER_Btn_GPIO_Port, USER_Btn_Pin) == GPIO_PIN_SET)
	{
		isButtonPressed = 1;
		_pressed = 0;
	}
}

void myFirstTaskHandle(void *argument)
{
	uint32_t counter = 0;
	SEGGER_RTT_printf(0, "Enter My First Task\r\n");
	while(1)
	{
		if(osMutexAcquire(myMtx2, 1000) == osOK){
			HAL_UART_Transmit(&huart4, myBuffer1,10, 100);
			data += 1;
			SEGGER_RTT_printf(0, "Mutex 2 taken in task 2\r\n");

			if(osMutexAcquire(myMtx, 1000000) == osOK)
			{
				SEGGER_RTT_printf(0, "Mutex 1 taken in task 2\r\n");
				HAL_Delay(5000);
				osMutexRelease(myMtx);
			}else{
				SEGGER_RTT_printf(0, "can't take mutex1 in task 2\r\n");

			}
			osMutexRelease(myMtx2);
		}else{
			SEGGER_RTT_printf(0, "can't take mutex 2 in task 2\r\n");

		}

		osDelay(500);
	}
}
/* USER CODE END 4 */

void StartDefaultTask(void *argument)
{
  /* init code for LWIP */
  MX_LWIP_Init();
  /* USER CODE BEGIN 5 */
  uint32_t counter = 0;
  /* Infinite loop */
  for(;;)
  {
	  if(osMutexAcquire(myMtx, 1000) == osOK)
	  {
			SEGGER_RTT_printf(0, "Default Task Running, Counter = %d\r\n", counter++);
			SEGGER_RTT_printf(0, "Mutex 1 taken in task 1\r\n");
			data += 2;

			if(osMutexAcquire(myMtx2, 1000000) == osOK)
			{
				SEGGER_RTT_printf(0, "Mutex 2 taken in task 1\r\n");
				HAL_Delay(1000);
				osMutexRelease(myMtx2);

			}else{
				SEGGER_RTT_printf(0, "can't take mutex2 in task 1\r\n");

			}

			osMutexRelease(myMtx);

	  }else{
		  SEGGER_RTT_printf(0, "can't take mutex1 in task 1\r\n");
	  }

    osDelay(100);
  }
  /* USER CODE END 5 */
}

void HAL_TIM_PeriodElapsedCallback(TIM_HandleTypeDef *htim)
{
  if (htim->Instance == TIM2) {
    HAL_IncTick();
  }
}

void Error_Handler(void)
{
  __disable_irq();
  while (1)
  {
  }
}
